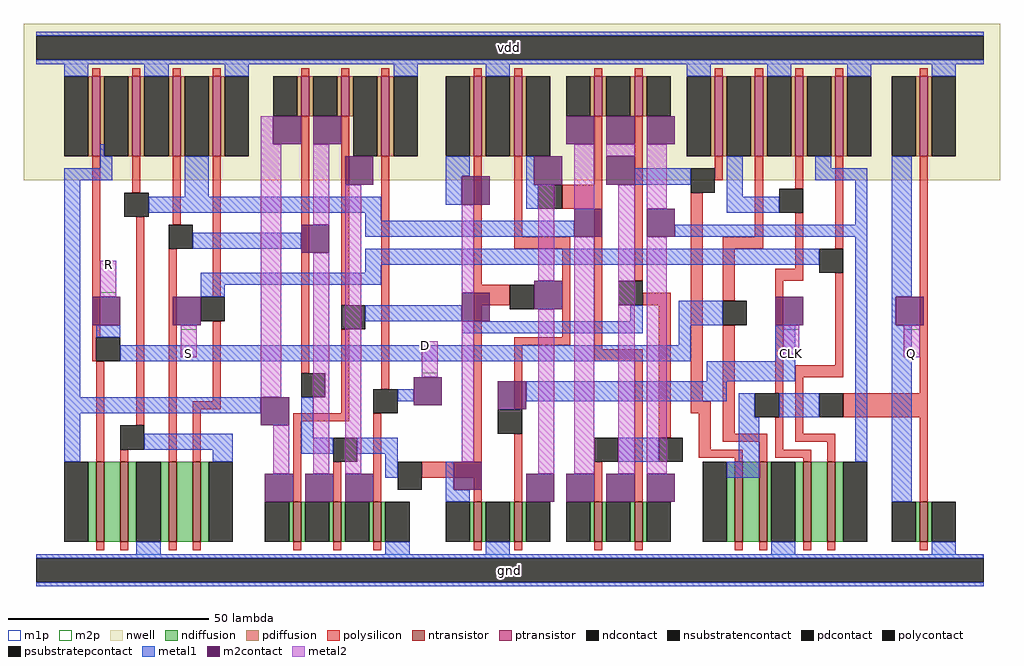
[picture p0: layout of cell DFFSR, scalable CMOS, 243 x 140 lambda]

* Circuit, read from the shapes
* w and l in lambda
.subckt DFFSR D S R CLK Q vdd gnd
M1 n1 R n2 gnd nfet w=20 l=2
M2 gnd n3 n1 gnd nfet w=20 l=2
M3 n4 n5 gnd gnd nfet w=20 l=2
M4 n3 S n4 gnd nfet w=20 l=2
M5 n5 n6 n2 gnd nfet w=10 l=2
M6 n7 n8 n5 gnd nfet w=10 l=2
M7 gnd D n7 gnd nfet w=10 l=2
M8 gnd n8 n6 gnd nfet w=10 l=2
M9 n8 CLK gnd gnd nfet w=10 l=2
M10 n9 n6 n3 gnd nfet w=10 l=2
M11 n10 n8 n9 gnd nfet w=10 l=2
M12 n11 n9 n12 gnd nfet w=20 l=2
M13 gnd R n11 gnd nfet w=20 l=2
M14 n13 n12 gnd gnd nfet w=20 l=2
M15 n10 S n13 gnd nfet w=20 l=2
M16 gnd n12 Q gnd nfet w=10 l=2
M17 n2 R vdd vdd pfet w=20 l=2
M18 vdd n3 n2 vdd pfet w=20 l=2
M19 n3 n5 vdd vdd pfet w=20 l=2
M20 vdd S n3 vdd pfet w=20 l=2
M21 n5 n8 n2 vdd pfet w=10 l=2
M22 n7 n6 n5 vdd pfet w=10 l=2
M23 vdd D n7 vdd pfet w=20 l=2
M24 vdd n8 n6 vdd pfet w=20 l=2
M25 n8 CLK vdd vdd pfet w=20 l=2
M26 n9 n8 n3 vdd pfet w=10 l=2
M27 n10 n6 n9 vdd pfet w=10 l=2
M28 n12 n9 vdd vdd pfet w=20 l=2
M29 vdd R n12 vdd pfet w=20 l=2
M30 n10 n12 vdd vdd pfet w=20 l=2
M31 vdd S n10 vdd pfet w=20 l=2
M32 vdd n12 Q vdd pfet w=20 l=2
.ends

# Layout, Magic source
magic
tech scmos
<< nwell >>
rect -6 97 237 136
<< ntransistor >>
rect 12 7 14 27
rect 18 7 20 27
rect 30 7 32 27
rect 36 7 38 27
rect 61 7 63 17
rect 71 7 73 17
rect 81 7 83 17
rect 106 7 108 17
rect 116 7 118 17
rect 136 7 138 17
rect 146 7 148 17
rect 171 7 173 27
rect 177 7 179 27
rect 188 7 190 27
rect 194 7 196 27
rect 217 7 219 17
<< ptransistor >>
rect 11 103 13 123
rect 21 103 23 123
rect 31 103 33 123
rect 41 103 43 123
rect 63 113 65 123
rect 73 113 75 123
rect 83 103 85 123
rect 106 103 108 123
rect 116 103 118 123
rect 136 113 138 123
rect 146 113 148 123
rect 166 103 168 123
rect 176 103 178 123
rect 186 103 188 123
rect 196 103 198 123
rect 217 103 219 123
<< ndiffusion >>
rect 10 7 12 27
rect 14 7 18 27
rect 20 7 22 27
rect 28 7 30 27
rect 32 7 36 27
rect 38 7 40 27
rect 60 7 61 17
rect 63 7 64 17
rect 70 7 71 17
rect 73 7 74 17
rect 80 7 81 17
rect 83 7 84 17
rect 105 7 106 17
rect 108 7 109 17
rect 115 7 116 17
rect 118 7 119 17
rect 135 7 136 17
rect 138 7 139 17
rect 145 7 146 17
rect 148 7 149 17
rect 169 7 171 27
rect 173 7 177 27
rect 179 7 180 27
rect 186 7 188 27
rect 190 7 194 27
rect 196 7 198 27
rect 216 7 217 17
rect 219 7 220 17
<< pdiffusion >>
rect 10 103 11 123
rect 13 103 14 123
rect 20 103 21 123
rect 23 103 24 123
rect 30 103 31 123
rect 33 103 34 123
rect 40 103 41 123
rect 43 103 44 123
rect 62 113 63 123
rect 65 113 66 123
rect 72 113 73 123
rect 75 113 76 123
rect 82 103 83 123
rect 85 103 86 123
rect 105 103 106 123
rect 108 103 109 123
rect 115 103 116 123
rect 118 103 119 123
rect 135 113 136 123
rect 138 113 139 123
rect 145 113 146 123
rect 148 113 149 123
rect 165 103 166 123
rect 168 103 169 123
rect 175 103 176 123
rect 178 103 179 123
rect 185 103 186 123
rect 188 103 189 123
rect 195 103 196 123
rect 198 103 199 123
rect 216 103 217 123
rect 219 103 220 123
<< ndcontact >>
rect 4 7 10 27
rect 22 7 28 27
rect 40 7 46 27
rect 54 7 60 17
rect 64 7 70 17
rect 74 7 80 17
rect 84 7 90 17
rect 99 7 105 17
rect 109 7 115 17
rect 119 7 125 17
rect 129 7 135 17
rect 139 7 145 17
rect 149 7 155 17
rect 163 7 169 27
rect 180 7 186 27
rect 198 7 204 27
rect 210 7 216 17
rect 220 7 226 17
<< pdcontact >>
rect 4 103 10 123
rect 14 103 20 123
rect 24 103 30 123
rect 34 103 40 123
rect 44 103 50 123
rect 56 113 62 123
rect 66 113 72 123
rect 76 103 82 123
rect 86 103 92 123
rect 99 103 105 123
rect 109 103 115 123
rect 119 103 125 123
rect 129 113 135 123
rect 139 113 145 123
rect 149 113 155 123
rect 159 103 165 123
rect 169 103 175 123
rect 179 103 185 123
rect 189 103 195 123
rect 199 103 205 123
rect 210 103 216 123
rect 220 103 226 123
<< psubstratepcontact >>
rect -3 -3 233 3
<< nsubstratencontact >>
rect -3 127 233 133
<< polysilicon >>
rect 11 123 13 125
rect 21 123 23 125
rect 31 123 33 125
rect 41 123 43 125
rect 63 123 65 125
rect 73 123 75 125
rect 83 123 85 125
rect 106 123 108 125
rect 116 123 118 125
rect 136 123 138 125
rect 146 123 148 125
rect 166 123 168 125
rect 176 123 178 125
rect 186 123 188 125
rect 196 123 198 125
rect 217 123 219 125
rect 11 58 13 103
rect 21 94 23 103
rect 11 52 12 58
rect 12 27 14 52
rect 22 36 24 88
rect 31 86 33 103
rect 18 27 20 30
rect 30 27 32 80
rect 41 68 43 103
rect 41 42 43 62
rect 63 49 65 113
rect 73 66 75 113
rect 36 40 43 42
rect 36 27 38 40
rect 73 39 75 60
rect 83 45 85 103
rect 106 71 108 103
rect 116 83 118 103
rect 136 96 138 113
rect 128 90 138 96
rect 116 80 130 83
rect 106 66 115 71
rect 61 37 75 39
rect 61 17 63 37
rect 71 17 73 27
rect 81 17 83 39
rect 106 27 108 66
rect 128 58 130 80
rect 116 56 130 58
rect 116 40 118 56
rect 136 55 138 90
rect 146 72 148 113
rect 166 97 168 103
rect 148 66 155 69
rect 136 52 148 55
rect 93 23 108 27
rect 106 17 108 23
rect 116 17 118 34
rect 136 17 138 27
rect 146 17 148 52
rect 152 33 155 66
rect 160 42 163 94
rect 176 83 178 103
rect 186 95 188 103
rect 168 80 178 83
rect 168 67 171 80
rect 186 75 188 89
rect 196 80 198 103
rect 181 72 188 75
rect 160 39 165 42
rect 162 30 165 39
rect 168 34 171 61
rect 181 44 183 72
rect 196 51 198 74
rect 182 38 183 44
rect 168 32 179 34
rect 162 28 173 30
rect 171 27 173 28
rect 177 27 179 32
rect 181 30 183 38
rect 186 48 198 51
rect 186 34 188 48
rect 217 44 219 103
rect 198 38 219 44
rect 186 32 196 34
rect 181 28 190 30
rect 188 27 190 28
rect 194 27 196 32
rect 217 17 219 38
rect 12 5 14 7
rect 18 5 20 7
rect 30 5 32 7
rect 36 5 38 7
rect 61 5 63 7
rect 71 5 73 7
rect 81 5 83 7
rect 106 5 108 7
rect 116 5 118 7
rect 136 5 138 7
rect 146 5 148 7
rect 171 5 173 7
rect 177 5 179 7
rect 188 5 190 7
rect 194 5 196 7
rect 217 5 219 7
<< polycontact >>
rect 19 88 25 94
rect 12 52 18 58
rect 18 30 24 36
rect 30 80 36 86
rect 38 62 44 68
rect 73 60 79 66
rect 63 43 69 49
rect 122 90 128 96
rect 81 39 87 45
rect 71 27 77 33
rect 115 65 121 71
rect 142 66 148 72
rect 160 94 166 100
rect 112 34 118 40
rect 87 20 93 27
rect 136 27 142 33
rect 182 89 188 95
rect 192 74 198 80
rect 168 61 174 67
rect 152 27 158 33
rect 176 38 182 44
rect 192 38 198 44
<< metal1 >>
rect -3 133 233 134
rect -3 126 233 127
rect 4 123 10 126
rect 24 123 30 126
rect 44 123 50 126
rect 86 123 92 126
rect 109 123 115 126
rect 159 123 165 126
rect 179 123 185 126
rect 199 123 205 126
rect 220 123 226 126
rect 13 103 14 106
rect 13 100 16 103
rect 4 97 16 100
rect 4 43 8 97
rect 34 93 40 103
rect 99 98 105 103
rect 25 89 83 93
rect 99 91 103 98
rect 119 96 121 103
rect 146 96 160 100
rect 119 90 122 96
rect 169 93 173 103
rect 191 100 195 103
rect 191 97 204 100
rect 79 87 83 89
rect 36 80 63 84
rect 79 83 131 87
rect 169 89 182 93
rect 201 86 204 97
rect 156 83 204 86
rect 79 76 192 80
rect 79 74 83 76
rect 38 71 83 74
rect 38 68 44 71
rect 12 58 18 61
rect 79 62 103 66
rect 145 62 148 66
rect 103 59 148 62
rect 157 61 168 67
rect 157 56 160 61
rect 18 52 160 56
rect 181 52 186 61
rect 4 39 53 43
rect 4 27 8 39
rect 24 30 46 34
rect 41 27 46 30
rect 63 33 66 43
rect 87 42 91 45
rect 164 47 186 52
rect 119 42 169 47
rect 172 38 176 44
rect 182 38 192 44
rect 63 29 71 33
rect 77 29 87 33
rect 84 23 87 29
rect 142 27 152 33
rect 172 27 177 38
rect 201 27 204 83
rect 99 20 101 27
rect 99 17 105 20
rect 169 23 177 27
rect 210 68 215 103
rect 210 61 211 68
rect 210 17 215 61
rect 22 4 28 7
rect 84 4 90 7
rect 109 4 115 7
rect 180 4 186 7
rect 220 4 226 7
rect -3 3 233 4
rect -3 -4 233 -3
<< m2contact >>
rect 56 106 63 113
rect 66 106 73 113
rect 129 106 136 113
rect 139 106 146 113
rect 149 106 156 113
rect 74 96 81 103
rect 103 91 110 98
rect 121 96 128 103
rect 139 96 146 103
rect 63 79 70 86
rect 131 83 138 90
rect 149 83 156 90
rect 11 61 18 68
rect 31 61 38 68
rect 103 62 110 69
rect 121 65 128 72
rect 181 61 188 68
rect 53 36 60 43
rect 91 41 98 48
rect 112 40 119 47
rect 54 17 61 24
rect 64 17 71 24
rect 74 17 81 24
rect 101 20 108 27
rect 119 17 126 24
rect 129 17 136 24
rect 139 17 146 24
rect 149 17 156 24
rect 211 61 218 68
<< metal2 >>
rect 53 106 56 113
rect 13 68 17 77
rect 33 53 37 61
rect 53 43 58 106
rect 66 86 70 106
rect 56 24 60 36
rect 66 24 70 79
rect 74 24 78 96
rect 103 69 106 91
rect 122 72 126 96
rect 131 90 136 106
rect 139 103 146 106
rect 93 48 97 57
rect 103 27 106 62
rect 122 24 126 65
rect 131 24 136 83
rect 142 24 146 96
rect 149 90 154 106
rect 149 24 154 83
rect 183 53 187 61
rect 213 53 217 61
<< m1p >>
rect -3 126 233 134
rect -3 -4 233 4
<< m2p >>
rect 13 69 17 77
rect 33 53 37 60
rect 93 49 97 57
rect 183 53 187 60
rect 213 53 217 60
<< labels >>
rlabel metal2 94 56 94 56 1 D
port 1 n signal input
rlabel metal2 35 54 35 54 7 S
port 2 n signal input
rlabel metal2 15 76 15 76 1 R
port 3 n signal input
rlabel metal2 185 54 185 54 3 CLK
port 4 n signal input
rlabel metal2 215 54 215 54 1 Q
port 5 n signal output
rlabel metal1 -3 126 233 134 0 vdd
port 6 nsew power bidirectional abutment
rlabel metal1 -3 -4 233 4 0 gnd
port 7 nsew ground bidirectional abutment
<< properties >>
string FIXED_BBOX 0 0 230 130
string LEFclass CORE
string LEFsite core
string LEFsymmetry X Y
<< end >>
